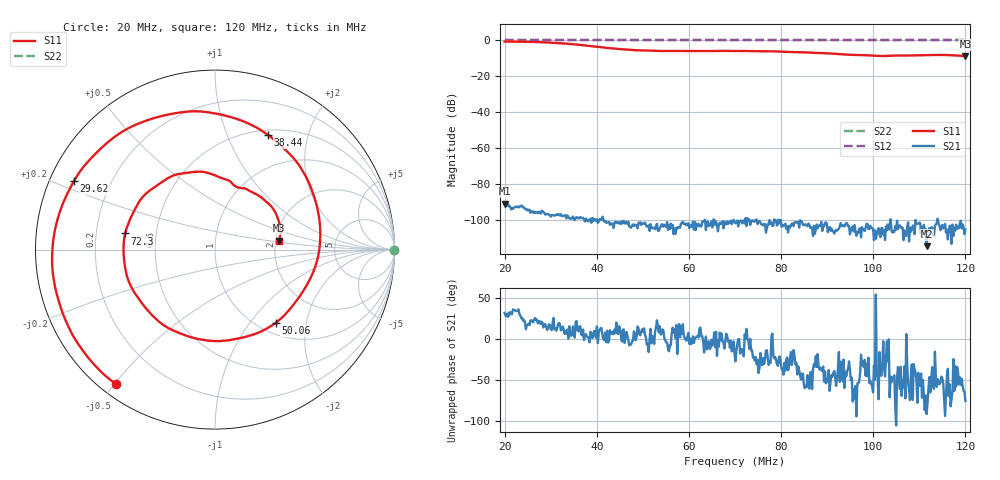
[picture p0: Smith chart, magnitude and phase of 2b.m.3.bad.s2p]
! Anritsu VNA Master:  Model: MS2036C/10/77
! SN:  1601066
! /card0/usr/18may27.balun/252b.m3.bad.s2p
! Existing Calibration Information:
! TYPE:  Current Settings,  Active Cal Settings
! TIME:  05/27/2018 12:42:48 PM,  05/27/2018 12:21:44 PM
! INTERNAL TEMP:  53.0 C,  53.3 C
! # POINTS:  500,  500
! START FREQ:  20.000 MHz,  20.000 MHz
! STOP FREQ:  120.000 MHz,  120.000 MHz
! SOURCE POWER:  High,  High
! IFBW:  50 Hz,  50 Hz
! AVG FACTOR:  1 ,  1
! REF PLANE 1:  0 mm,  0 mm
! REF PLANE 2:  0 mm,  0 mm
! CAL TYPE:  Full S11,  Full S11
! CAL METHOD:  SOLT,  SOLT
! CAL LINE TYPE:  Coax,  Coax
! DUT PORT 1:  K-Conn(M),  K-Conn(M)
! DUT PORT 2:  K-Conn(M),  K-Conn(M)
! CAL STATUS:  OK: Accuracy High,  --
# GHZ S DB R 50.0
! FREQ.GHZ  S11DB  S11A  S21DB  S21A  S12DB  S12A  S22DB  S22A
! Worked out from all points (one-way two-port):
!   500 points, 20 MHz to 120 MHz, reference 50 ohm
!   highest |S21| = -90.87 dB at 20 MHz (marker M1); lowest = -114.6 dB at 111.6 MHz (marker M2)
!   lowest |S11| = -8.9 dB at 120 MHz (marker M3), VSWR 2.12, Z = 104 + j12 ohm
!   |S11| at or under -10 dB: nowhere
!   |S22| runs from 0.0 to 0.0 dB; largest |S21 - S12| = 1
!   S11 on the Smith chart (normalised r, x): 20 MHz: 0.05, -0.51; 29.62 MHz: 0.07, +0.23; 38.44 MHz: 0.56, +1.41; 50.06 MHz: 1.19, -1.35; 72.3 MHz: 0.33, +0.08; 120 MHz: 2.09, +0.24
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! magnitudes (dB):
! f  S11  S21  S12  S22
! 20 MHz  -0.6  -90.9  0.0  0.0
! 26.01 MHz  -0.8  -95.3  0.0  0.0
! 29.62 MHz  -1.2  -97.0  0.0  0.0
! 32.63 MHz  -1.6  -97.8  0.0  0.0
! 36.83 MHz  -2.6  -98.9  0.0  0.0
! 38.44 MHz  -3.1  -100.6  0.0  0.0
! 42.65 MHz  -4.3  -101.0  0.0  0.0
! 47.05 MHz  -5.3  -103.6  0.0  0.0
! 50.06 MHz  -5.5  -102.0  0.0  0.0
! 53.47 MHz  -5.8  -106.1  0.0  0.0
! 70.1 MHz  -5.9  -101.7  0.0  0.0
! 72.3 MHz  -5.9  -98.9  0.0  0.0
! 78.32 MHz  -6.1  -103.1  0.0  0.0
! 86.73 MHz  -6.8  -104.5  0.0  0.0
! 90.34 MHz  -7.2  -104.5  0.0  0.0
! 94.75 MHz  -8.0  -103.4  0.0  0.0
! 100.8 MHz  -8.6  -107.9  0.0  0.0
! 103.4 MHz  -8.5  -105.3  0.0  0.0
! 111.6 MHz  -8.2  -114.6  0.0  0.0
! 116 MHz  -8.1  -105.4  0.0  0.0
! 118.2 MHz  -8.4  -105.0  0.0  0.0
! 120 MHz  -8.9  -105.3  0.0  0.0
